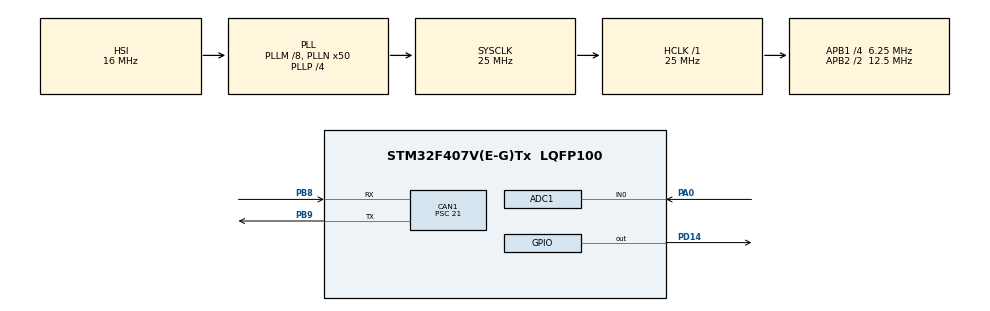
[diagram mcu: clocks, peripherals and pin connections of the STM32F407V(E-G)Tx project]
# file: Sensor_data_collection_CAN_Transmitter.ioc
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ADC1.Channel-0\#ChannelRegularConversion=ADC_CHANNEL_0
ADC1.ClockPrescaler=ADC_CLOCK_SYNC_PCLK_DIV4
ADC1.NbrOfConversionFlag=1
ADC1.Rank-0\#ChannelRegularConversion=1
ADC1.SamplingTime-0\#ChannelRegularConversion=ADC_SAMPLETIME_3CYCLES
ADC1.master=1
CAN1.BS1=CAN_BS1_2TQ
CAN1.CalculateBaudRate=74404
CAN1.CalculateTimeBit=13440
CAN1.CalculateTimeQuantum=3360.0
CAN1.Prescaler=21
Mcu.Family=STM32F4
Mcu.Name=STM32F407V(E-G)Tx
Mcu.Package=LQFP100
NVIC.CAN1_RX0_IRQn=true\:0\:0\:false\:false\:true\:true\:true\:true
NVIC.PriorityGroup=NVIC_PRIORITYGROUP_0
PA0-WKUP.Signal=ADCx_IN0
PB8.Mode=CAN_Activate
PB8.Signal=CAN1_RX
PB9.Mode=CAN_Activate
PB9.Signal=CAN1_TX
PD14.Signal=GPIO_Output
PH0-OSC_IN.Mode=HSE-External-Oscillator
PH0-OSC_IN.Signal=RCC_OSC_IN
PH1-OSC_OUT.Mode=HSE-External-Oscillator
PH1-OSC_OUT.Signal=RCC_OSC_OUT
ProjectManager.HeapSize=0x200
ProjectManager.StackSize=0x400
ProjectManager.TargetToolchain=STM32CubeIDE
RCC.48MHZClocksFreq_Value=14285714.285714285
RCC.AHBFreq_Value=25000000
RCC.APB1CLKDivider=RCC_HCLK_DIV4
RCC.APB1Freq_Value=6250000
RCC.APB1TimFreq_Value=12500000
RCC.APB2CLKDivider=RCC_HCLK_DIV2
RCC.APB2Freq_Value=12500000
RCC.APB2TimFreq_Value=25000000
RCC.CortexFreq_Value=25000000
RCC.HCLKFreq_Value=25000000
RCC.HSE_VALUE=8000000
RCC.HSI_VALUE=16000000
RCC.LSE_VALUE=32768
RCC.PLLM=8
RCC.PLLN=50
RCC.PLLP=RCC_PLLP_DIV4
RCC.PLLQ=7
RCC.SYSCLKFreq_VALUE=25000000
RCC.SYSCLKSource=RCC_SYSCLKSOURCE_PLLCLK
RCC.VCOOutputFreq_Value=100000000
SH.ADCx_IN0.0=ADC1_IN0,IN0
board=STM32F407G-DISC1

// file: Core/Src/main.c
/* USER CODE BEGIN Header */
/**
  ******************************************************************************
  * @file           : main.c
  * @brief          : Main program body
  ******************************************************************************
  * @attention
  *
  * Copyright (c) 2025 STMicroelectronics.
  * All rights reserved.
  *
  * This software is licensed under terms that can be found in the LICENSE file
  * in the root directory of this software component.
  * If no LICENSE file comes with this software, it is provided AS-IS.
  *
  ******************************************************************************
  */
/* USER CODE END Header */
#include "main.h"
#include <stdio.h>
#include <string.h>
#include <math.h>

ADC_HandleTypeDef hadc1;

CAN_HandleTypeDef hcan1;

/* USER CODE BEGIN PV */
CAN_TxHeaderTypeDef TxHeader;
uint8_t TxData[8];
uint32_t TxMailbox;

#define A 116.6020682  // Calibration constant for CO2
#define B 2.211        // Calibration constant for CO2
#define R_L 10.0       // Load resistor value in kOhms
#define R0 76.63       // Pre-calibrated value of R0 in clean air

/* USER CODE END PV */

void SystemClock_Config(void);
static void MX_GPIO_Init(void);
static void MX_ADC1_Init(void);
static void MX_CAN1_Init(void);

/* USER CODE BEGIN 0 */
uint32_t Read_MQ135_ADC(void) {
    HAL_ADC_Start(&hadc1);
    HAL_ADC_PollForConversion(&hadc1, HAL_MAX_DELAY);
    uint32_t adcValue = HAL_ADC_GetValue(&hadc1);
    HAL_ADC_Stop(&hadc1);
    return adcValue;
}

float Convert_ADC_to_Concentration(uint32_t adcValue) {
    float Rs = 0, ratio = 0, concentration = 0;
    if (adcValue != 0) {
        Rs = R_L * ((4095.0 - adcValue) / adcValue);
        ratio = Rs / R0;
        concentration = A * pow(ratio, -B);
    }
    return concentration;
}

void send_CAN_message(void) {
    uint32_t adcValue = Read_MQ135_ADC();
    float gas_ppm = Convert_ADC_to_Concentration(adcValue);
    uint16_t ppm_int = (uint16_t)gas_ppm;  // Convert to integer for transmission

    TxData[0] = (uint8_t)(ppm_int >> 8);  // High byte of gas PPM
    TxData[1] = (uint8_t)(ppm_int & 0xFF);  // Low byte of gas PPM
    TxData[2] = (uint8_t)(adcValue >> 8);  // High byte of ADC value
    TxData[3] = (uint8_t)(adcValue & 0xFF);  // Low byte of ADC value

    if (HAL_CAN_AddTxMessage(&hcan1, &TxHeader, TxData, &TxMailbox) != HAL_OK) {
        Error_Handler();
    }
}
/* USER CODE END 0 */

int main(void)
{

  /* MCU Configuration--------------------------------------------------------*/

  /* Reset of all peripherals, Initializes the Flash interface and the Systick. */
  HAL_Init();

  /* Configure the system clock */
  SystemClock_Config();

  /* Initialize all configured peripherals */
  MX_GPIO_Init();
  MX_ADC1_Init();
  MX_CAN1_Init();
  /* USER CODE BEGIN 2 */

  if (HAL_CAN_Start(&hcan1) != HAL_OK) {
         Error_Handler();
     }

  	  TxHeader.DLC = 4;  // Data length (4 bytes)
      TxHeader.IDE = CAN_ID_STD;
      TxHeader.RTR = CAN_RTR_DATA;
      TxHeader.StdId = 0x103;  // CAN ID for this message
      TxHeader.ExtId = 0x00;
      TxHeader.TransmitGlobalTime = DISABLE;
  /* USER CODE END 2 */

  /* Infinite loop */
  /* USER CODE BEGIN WHILE */
  while (1)
  {

	  send_CAN_message();  // Send ADC data over CAN
	  HAL_Delay(2000);  // Transmit every 2 seconds
    /* USER CODE END WHILE */

  }
}

void SystemClock_Config(void)
{
  RCC_OscInitTypeDef RCC_OscInitStruct = {0};
  RCC_ClkInitTypeDef RCC_ClkInitStruct = {0};

  /** Configure the main internal regulator output voltage
  */
  __HAL_RCC_PWR_CLK_ENABLE();
  __HAL_PWR_VOLTAGESCALING_CONFIG(PWR_REGULATOR_VOLTAGE_SCALE1);

  /** Initializes the RCC Oscillators according to the specified parameters
  * in the RCC_OscInitTypeDef structure.
  */
  RCC_OscInitStruct.OscillatorType = RCC_OSCILLATORTYPE_HSI;
  RCC_OscInitStruct.HSIState = RCC_HSI_ON;
  RCC_OscInitStruct.HSICalibrationValue = RCC_HSICALIBRATION_DEFAULT;
  RCC_OscInitStruct.PLL.PLLState = RCC_PLL_ON;
  RCC_OscInitStruct.PLL.PLLSource = RCC_PLLSOURCE_HSI;
  RCC_OscInitStruct.PLL.PLLM = 8;
  RCC_OscInitStruct.PLL.PLLN = 50;
  RCC_OscInitStruct.PLL.PLLP = RCC_PLLP_DIV4;
  RCC_OscInitStruct.PLL.PLLQ = 7;
  if (HAL_RCC_OscConfig(&RCC_OscInitStruct) != HAL_OK)
  {
    Error_Handler();
  }

  /** Initializes the CPU, AHB and APB buses clocks
  */
  RCC_ClkInitStruct.ClockType = RCC_CLOCKTYPE_HCLK|RCC_CLOCKTYPE_SYSCLK
                              |RCC_CLOCKTYPE_PCLK1|RCC_CLOCKTYPE_PCLK2;
  RCC_ClkInitStruct.SYSCLKSource = RCC_SYSCLKSOURCE_PLLCLK;
  RCC_ClkInitStruct.AHBCLKDivider = RCC_SYSCLK_DIV1;
  RCC_ClkInitStruct.APB1CLKDivider = RCC_HCLK_DIV4;
  RCC_ClkInitStruct.APB2CLKDivider = RCC_HCLK_DIV2;

  if (HAL_RCC_ClockConfig(&RCC_ClkInitStruct, FLASH_LATENCY_0) != HAL_OK)
  {
    Error_Handler();
  }
}

static void MX_ADC1_Init(void)
{

  ADC_ChannelConfTypeDef sConfig = {0};

  /** Configure the global features of the ADC (Clock, Resolution, Data Alignment and number of conversion)
  */
  hadc1.Instance = ADC1;
  hadc1.Init.ClockPrescaler = ADC_CLOCK_SYNC_PCLK_DIV4;
  hadc1.Init.Resolution = ADC_RESOLUTION_12B;
  hadc1.Init.ScanConvMode = DISABLE;
  hadc1.Init.ContinuousConvMode = DISABLE;
  hadc1.Init.DiscontinuousConvMode = DISABLE;
  hadc1.Init.ExternalTrigConvEdge = ADC_EXTERNALTRIGCONVEDGE_NONE;
  hadc1.Init.ExternalTrigConv = ADC_SOFTWARE_START;
  hadc1.Init.DataAlign = ADC_DATAALIGN_RIGHT;
  hadc1.Init.NbrOfConversion = 1;
  hadc1.Init.DMAContinuousRequests = DISABLE;
  hadc1.Init.EOCSelection = ADC_EOC_SINGLE_CONV;
  if (HAL_ADC_Init(&hadc1) != HAL_OK)
  {
    Error_Handler();
  }

  /** Configure for the selected ADC regular channel its corresponding rank in the sequencer and its sample time.
  */
  sConfig.Channel = ADC_CHANNEL_0;
  sConfig.Rank = 1;
  sConfig.SamplingTime = ADC_SAMPLETIME_3CYCLES;
  if (HAL_ADC_ConfigChannel(&hadc1, &sConfig) != HAL_OK)
  {
    Error_Handler();
  }

}

static void MX_CAN1_Init(void)
{

  hcan1.Instance = CAN1;
  hcan1.Init.Prescaler = 21;
  hcan1.Init.Mode = CAN_MODE_NORMAL;
  hcan1.Init.SyncJumpWidth = CAN_SJW_1TQ;
  hcan1.Init.TimeSeg1 = CAN_BS1_2TQ;
  hcan1.Init.TimeSeg2 = CAN_BS2_1TQ;
  hcan1.Init.TimeTriggeredMode = DISABLE;
  hcan1.Init.AutoBusOff = DISABLE;
  hcan1.Init.AutoWakeUp = DISABLE;
  hcan1.Init.AutoRetransmission = DISABLE;
  hcan1.Init.ReceiveFifoLocked = DISABLE;
  hcan1.Init.TransmitFifoPriority = DISABLE;
  if (HAL_CAN_Init(&hcan1) != HAL_OK)
  {
    Error_Handler();
  }
  /* USER CODE BEGIN CAN1_Init 2 */
  CAN_FilterTypeDef canfilterconfig;

    canfilterconfig.FilterActivation = CAN_FILTER_ENABLE;
    canfilterconfig.FilterBank = 18;
    canfilterconfig.FilterFIFOAssignment = CAN_FILTER_FIFO0;
    canfilterconfig.FilterIdHigh = 0x103<<5;
    canfilterconfig.FilterIdLow = 0;
    canfilterconfig.FilterMode = CAN_FILTERMODE_IDMASK;
    canfilterconfig.FilterMaskIdHigh = 0x103<<5;
    canfilterconfig.FilterMaskIdLow = 0x0000;
    canfilterconfig.FilterScale = CAN_FILTERSCALE_32BIT;
    canfilterconfig.SlaveStartFilterBank = 40;

    HAL_CAN_ConfigFilter(&hcan1, &canfilterconfig);
  /* USER CODE END CAN1_Init 2 */

}

static void MX_GPIO_Init(void)
{
  GPIO_InitTypeDef GPIO_InitStruct = {0};

  /* GPIO Ports Clock Enable */
  __HAL_RCC_GPIOH_CLK_ENABLE();
  __HAL_RCC_GPIOA_CLK_ENABLE();
  __HAL_RCC_GPIOD_CLK_ENABLE();
  __HAL_RCC_GPIOB_CLK_ENABLE();

  /*Configure GPIO pin Output Level */
  HAL_GPIO_WritePin(GPIOD, GPIO_PIN_14, GPIO_PIN_RESET);

  /*Configure GPIO pin : PD14 */
  GPIO_InitStruct.Pin = GPIO_PIN_14;
  GPIO_InitStruct.Mode = GPIO_MODE_OUTPUT_PP;
  GPIO_InitStruct.Pull = GPIO_NOPULL;
  GPIO_InitStruct.Speed = GPIO_SPEED_FREQ_LOW;
  HAL_GPIO_Init(GPIOD, &GPIO_InitStruct);

}

void Error_Handler(void)
{
  __disable_irq();
  while (1)
  {
  }
}
